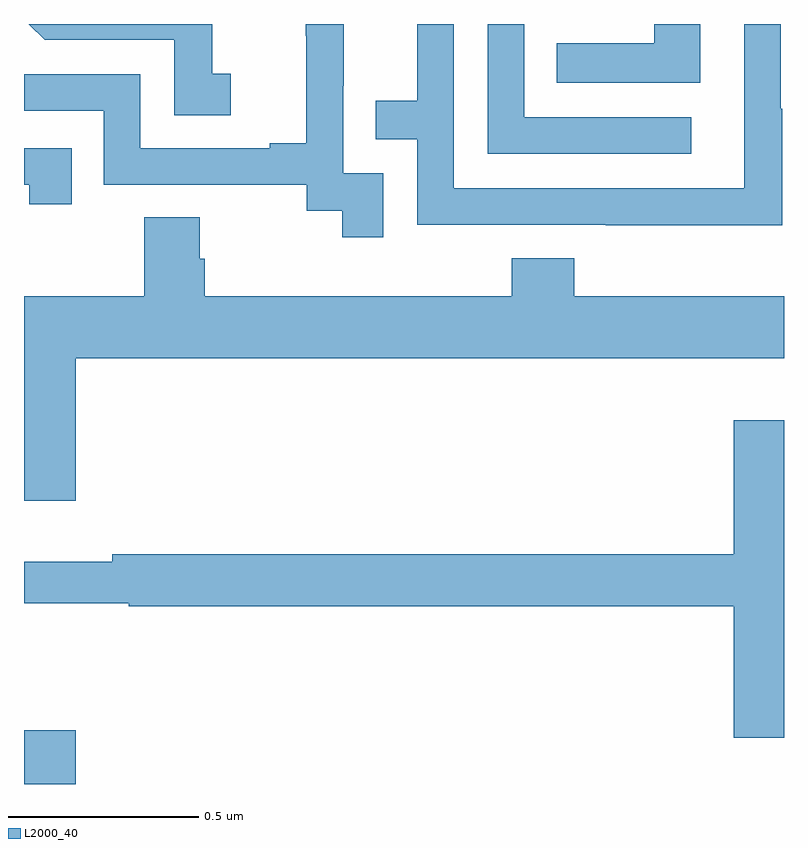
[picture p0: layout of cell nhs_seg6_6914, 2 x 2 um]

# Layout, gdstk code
import gdstk
lib = gdstk.Library(unit=1e-6, precision=1e-09)
def R(c, l, rs):  # rectangles x0, y0, x1, y1
    for r in rs: c.add(gdstk.rectangle(r[:2], r[2:], *l))
def P(c, l, *ps):  # polygons
    for p in ps: c.add(gdstk.Polygon(p, *l))
L2000_40 = (2000, 40)

nhs_seg6_6914 = lib.new_cell('nhs_seg6_6914')
R(nhs_seg6_6914, L2000_40, [(201,995.5,201.136,995.641)])
P(nhs_seg6_6914, L2000_40, [(202.995,997.277),(202.992,997.277),(202.992,997.5),(202.896,997.5),(202.896,997.068),(202.131,997.068),(202.131,997.5),(202.035,997.5),(202.035,997.298),(201.925,997.298),(201.925,997.197),(202.035,997.197),(202.035,996.972),(202.531,996.972),(202.531,996.971),(202.995,996.971)],
  [(202.756,997.254),(202.317,997.254),(202.317,997.5),(202.221,997.5),(202.221,997.158),(202.756,997.158)],
  [(201.945,997.107),(201.84,997.107),(201.84,997.337),(201.842,997.337),(201.842,997.5),(201.742,997.5),(201.742,997.469),(201.743,997.469),(201.743,997.186),(201.647,997.186),(201.647,997.173),(201.306,997.173),(201.306,997.368),(201,997.368),(201,997.272),(201.21,997.272),(201.21,997.077),(201.744,997.077),(201.744,997.009),(201.837,997.009),(201.837,996.939),(201.945,996.939)],
  [(202.78,997.5),(202.659,997.5),(202.659,997.45),(202.402,997.45),(202.402,997.346),(202.78,997.346)],
  [(201.544,997.369),(201.495,997.369),(201.495,997.5),(201.012,997.5),(201.054,997.458),(201.396,997.458),(201.396,997.26),(201.544,997.26)],
  [(201.125,997.173),(201,997.173),(201,997.077),(201.014,997.077),(201.014,997.026),(201.125,997.026)],
  [(201.136,996.62),(203,996.62),(203,996.784),(202.448,996.784),(202.448,996.883),(202.283,996.883),(202.283,996.784),(201.476,996.784),(201.476,996.882),(201.463,996.882),(201.463,996.992),(201.316,996.992),(201.316,996.784),(201,996.784),(201,996.246),(201.136,996.246)],
  [(203,996.457),(202.868,996.457),(202.868,996.104),(201.232,996.104),(201.232,996.085),(201,996.085),(201,995.976),(201.276,995.976),(201.276,995.968),(202.868,995.968),(202.868,995.622),(203,995.622)])

lib.write_gds('nhs_seg6_6914.gds')
